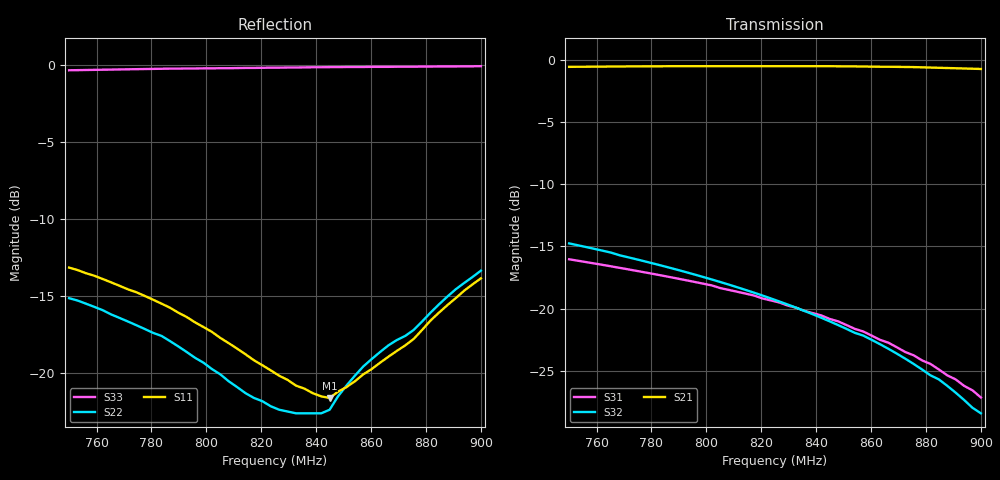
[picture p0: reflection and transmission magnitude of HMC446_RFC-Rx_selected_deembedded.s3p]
!Hittite Microwave Corporation
!12 Elizabeth Drive
!Chelmsford, MA 01824
!Tel: 978-250-3343
!Fax: 978-250-3373
!Device: HMC446, 824-894 GHz, GaAs MMIC 10W T/R Switch in SOT26 package
!Misc: Port 1= RFC, Port 2 = Rx, Port 3 = Tx, Vctl=0/+8V, RFC-Rx selected, Room
# MHZ S MA R 50
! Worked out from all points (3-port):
!   50 points, 750 MHz to 900 MHz, reference 50 ohm
!   strongest paths, dB at 750 MHz, 786.7 MHz, 826.5 MHz, 863.3 MHz, 900 MHz:
!     S21: -0.6, -0.5, -0.5, -0.6, -0.7
!     S32: -14.8, -16.7, -19.4, -22.9, -28.4
!     S31: -16.0, -17.5, -19.5, -22.5, -27.1
!   lowest |S11| = -21.6 dB at 844.9 MHz (marker M1), VSWR 1.18, Z = 43.9 - j4.93 ohm
!   |S11| at or under -10 dB: start of sweep to end of sweep
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750  0.22 173.1  0.94 -77.4  0.156 -51.0
     0.937 -77.5  0.175 174.6  0.181 -157.1
     0.158 -52.1  0.183 -158.3  0.962 19.9
786.735  0.163 174.9  0.942 -85.1  0.136 -50.4
         0.943 -85.4  0.127 153.5  0.148 -166.8
         0.134 -52.3  0.146 -168.7  0.974 16.1
814.286  0.115 -176.0  0.944 -91.2  0.119 -51.3
         0.943 -91.7  0.086 124.2  0.124 -176.2
         0.115 -52.2  0.119 -177.3  0.979 13.2
826.531  0.098 -162.8  0.946 -94.3  0.11 -51.7
         0.943 -94.8  0.076 97.8  0.111 178.7
         0.106 -51.9  0.107 178.3  0.981 12.0
841.837  0.084 -142.6  0.947 -98.0  0.097 -52.3
         0.943 -98.6  0.074 63.8  0.096 172.4
         0.094 -51.5  0.092 172.7  0.984 10.6
844.898  0.083 -137.9  0.947 -98.8  0.095 -52.3
         0.943 -99.4  0.076 57.2  0.093 171.1
         0.091 -51.4  0.089 171.6  0.985 10.3
857.143  0.099 -118.2  0.944 -102.3  0.083 -51.4
         0.94 -102.7  0.105 34.0  0.08 165.1
         0.081 -49.9  0.078 166.1  0.986 9.2
875.51  0.129 -98.7  0.938 -107.5  0.066 -49.3
        0.935 -107.7  0.138 8.3  0.061 156.1
        0.065 -47.0  0.06 157.6  0.988 7.5
881.633  0.148 -97.2  0.933 -109.4  0.06 -46.2
         0.931 -109.5  0.157 5.0  0.055 152.1
         0.06 -43.8  0.054 153.5  0.989 6.9
900  0.203 -91.2  0.918 -114.8  0.044 -36.3
     0.919 -114.7  0.215 -11.4  0.037 140.3
     0.044 -33.7  0.038 141.1  0.992 5.2
